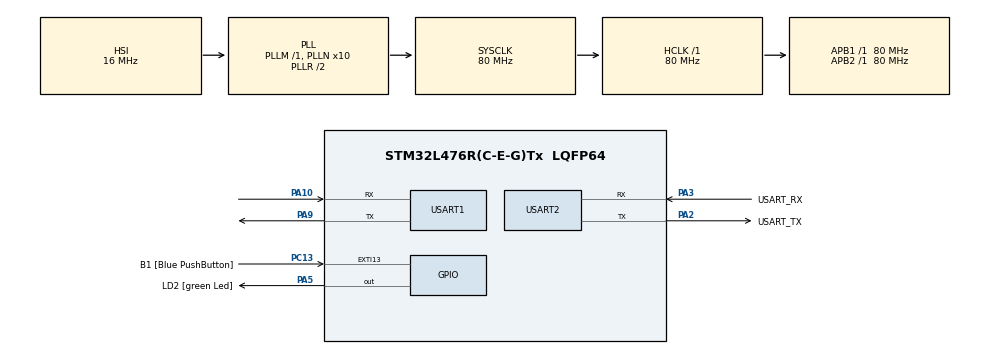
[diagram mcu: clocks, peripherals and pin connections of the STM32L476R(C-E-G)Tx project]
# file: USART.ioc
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Mcu.Family=STM32L4
Mcu.Name=STM32L476R(C-E-G)Tx
Mcu.Package=LQFP64
NVIC.PriorityGroup=NVIC_PRIORITYGROUP_4
NVIC.USART1_IRQn=true\:0\:0\:false\:false\:true\:true\:true
PA10.Mode=Asynchronous
PA10.Signal=USART1_RX
PA13\ (JTMS-SWDIO).GPIO_Label=TMS
PA13\ (JTMS-SWDIO).Mode=Serial_Wire
PA13\ (JTMS-SWDIO).Signal=SYS_JTMS-SWDIO
PA14\ (JTCK-SWCLK).GPIO_Label=TCK
PA14\ (JTCK-SWCLK).Mode=Serial_Wire
PA14\ (JTCK-SWCLK).Signal=SYS_JTCK-SWCLK
PA2.GPIO_Label=USART_TX
PA2.GPIO_Mode=GPIO_MODE_AF_PP
PA2.GPIO_PuPd=GPIO_NOPULL
PA2.GPIO_Speed=GPIO_SPEED_FREQ_VERY_HIGH
PA2.Mode=Asynchronous
PA2.Signal=USART2_TX
PA3.GPIO_Label=USART_RX
PA3.GPIO_Mode=GPIO_MODE_AF_PP
PA3.GPIO_PuPd=GPIO_NOPULL
PA3.GPIO_Speed=GPIO_SPEED_FREQ_VERY_HIGH
PA3.Mode=Asynchronous
PA3.Signal=USART2_RX
PA5.GPIO_Label=LD2 [green Led]
PA5.GPIO_ModeDefaultOutputPP=GPIO_MODE_OUTPUT_PP
PA5.GPIO_PuPd=GPIO_NOPULL
PA5.GPIO_Speed=GPIO_SPEED_FREQ_LOW
PA5.Signal=GPIO_Output
PA9.Mode=Asynchronous
PA9.Signal=USART1_TX
PB3\ (JTDO-TRACESWO).GPIO_Label=SWO
PB3\ (JTDO-TRACESWO).Signal=SYS_JTDO-SWO
PC13.GPIO_Label=B1 [Blue PushButton]
PC13.GPIO_ModeDefaultEXTI=GPIO_MODE_IT_FALLING
PC13.GPIO_PuPd=GPIO_NOPULL
PC13.Signal=GPXTI13
PC14-OSC32_IN\ (PC14).Mode=LSE-External-Oscillator
PC14-OSC32_IN\ (PC14).Signal=RCC_OSC32_IN
PC15-OSC32_OUT\ (PC15).Mode=LSE-External-Oscillator
PC15-OSC32_OUT\ (PC15).Signal=RCC_OSC32_OUT
PH0-OSC_IN\ (PH0).Signal=RCC_OSC_IN
PH1-OSC_OUT\ (PH1).Signal=RCC_OSC_OUT
ProjectManager.HeapSize=0x200
ProjectManager.StackSize=0x400
ProjectManager.TargetToolchain=MDK-ARM V5.27
RCC.ADCFreq_Value=64000000
RCC.AHBFreq_Value=80000000
RCC.APB1Freq_Value=80000000
RCC.APB1TimFreq_Value=80000000
RCC.APB2Freq_Value=80000000
RCC.APB2TimFreq_Value=80000000
RCC.CortexFreq_Value=80000000
RCC.HCLKFreq_Value=80000000
RCC.HSE_VALUE=8000000
RCC.HSI_VALUE=16000000
RCC.MSI_VALUE=4000000
RCC.PLLN=10
RCC.PLLSourceVirtual=RCC_PLLSOURCE_HSI
RCC.PREFETCH_ENABLE=1
RCC.SYSCLKFreq_VALUE=80000000
RCC.SYSCLKSource=RCC_SYSCLKSOURCE_PLLCLK
RCC.USBFreq_Value=64000000
RCC.VCOOutputFreq_Value=160000000
USART1.VirtualMode-Asynchronous=VM_ASYNC
USART2.VirtualMode-Asynchronous=VM_ASYNC
board=NUCLEO-L476RG

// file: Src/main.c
/* USER CODE BEGIN Header */
/**
  ******************************************************************************
  * @file           : main.c
  * @brief          : Main program body
  ******************************************************************************
  * @attention
  *
  * <h2><center>&copy; Copyright (c) 2020 STMicroelectronics.
  * All rights reserved.</center></h2>
  *
  * This software component is licensed by ST under BSD 3-Clause license,
  * the "License"; You may not use this file except in compliance with the
  * License. You may obtain a copy of the License at:
  *                        opensource.org/licenses/BSD-3-Clause
  *
  ******************************************************************************
  */
/* USER CODE END Header */

#include "main.h"
#include "usart.h"
#include "gpio.h"

/* USER CODE BEGIN Includes */
#include "stdio.h"
/* USER CODE END Includes */

/* USER CODE BEGIN PD */
#define UART1RxBuffer_Size 1
/* USER CODE END PD */

/* USER CODE BEGIN PV */
uint8_t UART1RxBuffer[UART1RxBuffer_Size];
/* USER CODE END PV */

void SystemClock_Config(void);
/* USER CODE BEGIN PFP */

/**
  * @brief USART Redirection(for using function 'printf')
  * @param ch, *f
  * @retval 0
  */
int fputc(int ch, FILE *f)
{
	HAL_UART_Transmit(&huart1, (uint8_t*)&ch, 1, 100);
	return 0;
}

/**
  * @brief USART Callback function
  * @param huart
  * @retval None
  */
void HAL_UART_RxCpltCallback(UART_HandleTypeDef *huart)
{
		UNUSED(huart);

    if( huart->Instance == USART1)
    {
			static Lidar  _Lidar;
			static uint8_t rc_counter = 0;	//State
			static uint8_t sum = 0;					//Check Sum

			if( rc_counter < 2 )
			{
				//Receive package header
				if( UART1RxBuffer[0] != 0x59 )
				{
					rc_counter = 0;
					sum = 0;
				}
				else
				{
					++rc_counter;
					sum += UART1RxBuffer[0];
				}
			}
			else if( rc_counter < 8 )
			{
				//Receive Data
				( (uint8_t *)&_Lidar )[ rc_counter - 2 ] = UART1RxBuffer[0];
				sum += UART1RxBuffer[0];
				++rc_counter;
			}
			else if( rc_counter == 8 )
			{
				//Check
				if( sum !=  UART1RxBuffer[0])
					rc_counter = 0;
				else
				{
					printf("Distance:%hucm Signal_Strength:%hu Temperature:%hu\r\n",_Lidar.Dist,_Lidar.Strength,(uint16_t)(_Lidar.Temp/8-256));
				}
				rc_counter = 0;
				sum=0;
			}
    }
		HAL_UART_Receive_IT(&huart1, UART1RxBuffer, UART1RxBuffer_Size); 		//Enable Receive Interupt
}

/* USER CODE END PFP */

int main(void)
{

  /* MCU Configuration--------------------------------------------------------*/

  /* Reset of all peripherals, Initializes the Flash interface and the Systick. */
  HAL_Init();

  /* Configure the system clock */
  SystemClock_Config();

  /* Initialize all configured peripherals */
  MX_GPIO_Init();
  MX_USART1_UART_Init();
  MX_USART2_UART_Init();
  /* USER CODE BEGIN 2 */
	HAL_UART_Receive_IT(&huart1, UART1RxBuffer, UART1RxBuffer_Size);
  /* USER CODE END 2 */

  /* Infinite loop */
  while (1)
  {
		HAL_Delay(100);
  }
}

void SystemClock_Config(void)
{
  RCC_OscInitTypeDef RCC_OscInitStruct = {0};
  RCC_ClkInitTypeDef RCC_ClkInitStruct = {0};
  RCC_PeriphCLKInitTypeDef PeriphClkInit = {0};

  /** Initializes the CPU, AHB and APB busses clocks
  */
  RCC_OscInitStruct.OscillatorType = RCC_OSCILLATORTYPE_HSI;
  RCC_OscInitStruct.HSIState = RCC_HSI_ON;
  RCC_OscInitStruct.HSICalibrationValue = RCC_HSICALIBRATION_DEFAULT;
  RCC_OscInitStruct.PLL.PLLState = RCC_PLL_ON;
  RCC_OscInitStruct.PLL.PLLSource = RCC_PLLSOURCE_HSI;
  RCC_OscInitStruct.PLL.PLLM = 1;
  RCC_OscInitStruct.PLL.PLLN = 10;
  RCC_OscInitStruct.PLL.PLLP = RCC_PLLP_DIV7;
  RCC_OscInitStruct.PLL.PLLQ = RCC_PLLQ_DIV2;
  RCC_OscInitStruct.PLL.PLLR = RCC_PLLR_DIV2;
  if (HAL_RCC_OscConfig(&RCC_OscInitStruct) != HAL_OK)
  {
    Error_Handler();
  }
  /** Initializes the CPU, AHB and APB busses clocks
  */
  RCC_ClkInitStruct.ClockType = RCC_CLOCKTYPE_HCLK|RCC_CLOCKTYPE_SYSCLK
                              |RCC_CLOCKTYPE_PCLK1|RCC_CLOCKTYPE_PCLK2;
  RCC_ClkInitStruct.SYSCLKSource = RCC_SYSCLKSOURCE_PLLCLK;
  RCC_ClkInitStruct.AHBCLKDivider = RCC_SYSCLK_DIV1;
  RCC_ClkInitStruct.APB1CLKDivider = RCC_HCLK_DIV1;
  RCC_ClkInitStruct.APB2CLKDivider = RCC_HCLK_DIV1;

  if (HAL_RCC_ClockConfig(&RCC_ClkInitStruct, FLASH_LATENCY_4) != HAL_OK)
  {
    Error_Handler();
  }
  PeriphClkInit.PeriphClockSelection = RCC_PERIPHCLK_USART1|RCC_PERIPHCLK_USART2;
  PeriphClkInit.Usart1ClockSelection = RCC_USART1CLKSOURCE_PCLK2;
  PeriphClkInit.Usart2ClockSelection = RCC_USART2CLKSOURCE_PCLK1;
  if (HAL_RCCEx_PeriphCLKConfig(&PeriphClkInit) != HAL_OK)
  {
    Error_Handler();
  }
  /** Configure the main internal regulator output voltage
  */
  if (HAL_PWREx_ControlVoltageScaling(PWR_REGULATOR_VOLTAGE_SCALE1) != HAL_OK)
  {
    Error_Handler();
  }
}

void Error_Handler(void)
{
}

/************************ (C) COPYRIGHT STMicroelectronics *****END OF FILE****/
